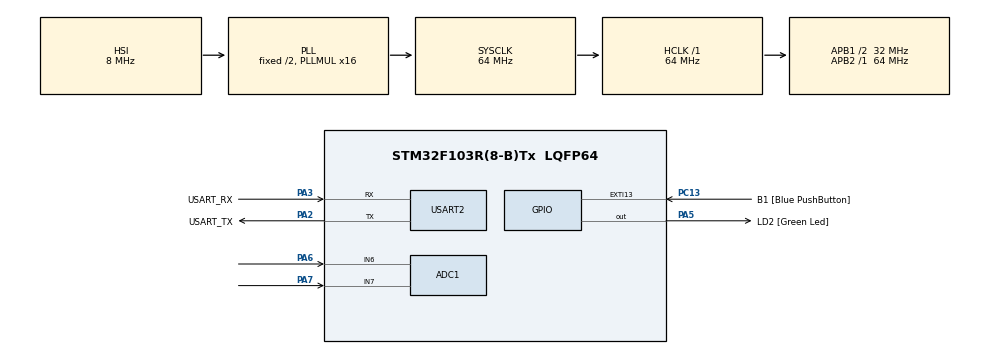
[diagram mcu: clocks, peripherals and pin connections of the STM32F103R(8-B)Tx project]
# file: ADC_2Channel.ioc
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ADC1.Channel-0\#ChannelRegularConversion=ADC_CHANNEL_6
ADC1.Channel-1\#ChannelRegularConversion=ADC_CHANNEL_7
ADC1.ContinuousConvMode=DISABLE
ADC1.DiscontinuousConvMode=ENABLE
ADC1.NbrOfConversion=2
ADC1.NbrOfConversionFlag=1
ADC1.Rank-0\#ChannelRegularConversion=1
ADC1.Rank-1\#ChannelRegularConversion=2
ADC1.SamplingTime-0\#ChannelRegularConversion=ADC_SAMPLETIME_13CYCLES_5
ADC1.SamplingTime-1\#ChannelRegularConversion=ADC_SAMPLETIME_13CYCLES_5
ADC1.master=1
Mcu.Family=STM32F1
Mcu.Name=STM32F103R(8-B)Tx
Mcu.Package=LQFP64
NVIC.ADC1_2_IRQn=true\:0\:0\:false\:false\:true\:true\:true\:true
NVIC.EXTI15_10_IRQn=true\:0\:0\:false\:false\:true\:true\:true\:true
NVIC.PriorityGroup=NVIC_PRIORITYGROUP_4
PA13.GPIO_Label=TMS
PA13.Mode=Serial_Wire
PA13.Signal=SYS_JTMS-SWDIO
PA14.GPIO_Label=TCK
PA14.Mode=Serial_Wire
PA14.Signal=SYS_JTCK-SWCLK
PA2.GPIO_Label=USART_TX
PA2.GPIO_Mode=GPIO_MODE_AF_PP
PA2.GPIO_PuPd=GPIO_NOPULL
PA2.GPIO_Speed=GPIO_SPEED_FREQ_LOW
PA2.Mode=Asynchronous
PA2.Signal=USART2_TX
PA3.GPIO_Label=USART_RX
PA3.GPIO_Mode=GPIO_MODE_AF_PP
PA3.GPIO_PuPd=GPIO_NOPULL
PA3.GPIO_Speed=GPIO_SPEED_FREQ_LOW
PA3.Mode=Asynchronous
PA3.Signal=USART2_RX
PA5.GPIO_Label=LD2 [Green Led]
PA5.GPIO_ModeDefaultOutputPP=GPIO_MODE_OUTPUT_PP
PA5.GPIO_PuPd=GPIO_NOPULL
PA5.GPIO_Speed=GPIO_SPEED_FREQ_LOW
PA5.Signal=GPIO_Output
PA6.Signal=ADCx_IN6
PA7.Signal=ADCx_IN7
PB3.GPIO_Label=SWO
PB3.Signal=SYS_JTDO-TRACESWO
PC13-TAMPER-RTC.GPIO_Label=B1 [Blue PushButton]
PC13-TAMPER-RTC.GPIO_PuPd=GPIO_NOPULL
PC13-TAMPER-RTC.Signal=GPXTI13
PC14-OSC32_IN.Mode=LSE-External-Oscillator
PC14-OSC32_IN.Signal=RCC_OSC32_IN
PC15-OSC32_OUT.Mode=LSE-External-Oscillator
PC15-OSC32_OUT.Signal=RCC_OSC32_OUT
PD0-OSC_IN.Mode=HSE-External-Clock-Source
PD0-OSC_IN.Signal=RCC_OSC_IN
PD1-OSC_OUT.Mode=HSE-External-Clock-Source
PD1-OSC_OUT.Signal=RCC_OSC_OUT
ProjectManager.HeapSize=0x200
ProjectManager.StackSize=0x400
ProjectManager.TargetToolchain=STM32CubeIDE
RCC.ADCPresc=RCC_ADCPCLK2_DIV8
RCC.AHBFreq_Value=64000000
RCC.APB1CLKDivider=RCC_HCLK_DIV2
RCC.APB1Freq_Value=32000000
RCC.APB1TimFreq_Value=64000000
RCC.APB2Freq_Value=64000000
RCC.APB2TimFreq_Value=64000000
RCC.HCLKFreq_Value=64000000
RCC.PLLMUL=RCC_PLL_MUL16
RCC.RTCClockSelection=RCC_RTCCLKSOURCE_LSE
RCC.SYSCLKFreq_VALUE=64000000
RCC.SYSCLKSource=RCC_SYSCLKSOURCE_PLLCLK
RCC.USBFreq_Value=64000000
SH.ADCx_IN6.0=ADC1_IN6,IN6
SH.ADCx_IN7.0=ADC1_IN7,IN7
USART2.VirtualMode=VM_ASYNC
board=NUCLEO-F103RB

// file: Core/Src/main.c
/* USER CODE BEGIN Header */
/**
  ******************************************************************************
  * @file           : main.c
  * @brief          : Main program body
  ******************************************************************************
  * @attention
  *
  * Copyright (c) 2022 STMicroelectronics.
  * All rights reserved.
  *
  * This software is licensed under terms that can be found in the LICENSE file
  * in the root directory of this software component.
  * If no LICENSE file comes with this software, it is provided AS-IS.
  *
  ******************************************************************************
  */
/* USER CODE END Header */
#include "main.h"

/* USER CODE BEGIN Includes */
#include<stdio.h>
/* USER CODE END Includes */

 ADC_HandleTypeDef hadc1;

UART_HandleTypeDef huart2;

/* USER CODE BEGIN PV */
int adc_value[2];
/* USER CODE END PV */

void SystemClock_Config(void);
static void MX_GPIO_Init(void);
static void MX_USART2_UART_Init(void);
static void MX_ADC1_Init(void);
/* USER CODE BEGIN PFP */
#ifdef __GNUC__
/* With GCC, small printf (option LD Linker->Libraries->Small printf
   set to 'Yes') calls __io_putchar() */
#define PUTCHAR_PROTOTYPE int __io_putchar(int ch)
#else
#define PUTCHAR_PROTOTYPE int fputc(int ch, FILE *f)
#endif /* __GNUC__ */

PUTCHAR_PROTOTYPE
{
  /* Place your implementation of fputc here */
  /* e.g. write a character to the USART1 and Loop until the end of transmission */
  HAL_UART_Transmit(&huart2, (uint8_t *)&ch, 1, 0xFFFF);

  return ch;
}
/* USER CODE END PFP */

int main(void)
{

  /* MCU Configuration--------------------------------------------------------*/

  /* Reset of all peripherals, Initializes the Flash interface and the Systick. */
  HAL_Init();

  /* Configure the system clock */
  SystemClock_Config();

  /* Initialize all configured peripherals */
  MX_GPIO_Init();
  MX_USART2_UART_Init();
  MX_ADC1_Init();

  /* Infinite loop */
  /* USER CODE BEGIN WHILE */
  while (1)
  {
	  HAL_ADC_Start(&hadc1);
	  HAL_ADC_PollForConversion(&hadc1, HAL_MAX_DELAY);
	  adc_value[0] = (uint16_t)HAL_ADC_GetValue(&hadc1);
	  HAL_ADC_Start(&hadc1);
	  HAL_ADC_PollForConversion(&hadc1, HAL_MAX_DELAY);
	  adc_value[1] = (uint16_t)HAL_ADC_GetValue(&hadc1);

	  HAL_Delay(100);
	  printf("X adc : %d, Y adc : %d\n\r", adc_value[0], adc_value[1]);
    /* USER CODE END WHILE */

  }
}

void SystemClock_Config(void)
{
  RCC_OscInitTypeDef RCC_OscInitStruct = {0};
  RCC_ClkInitTypeDef RCC_ClkInitStruct = {0};
  RCC_PeriphCLKInitTypeDef PeriphClkInit = {0};

  /** Initializes the RCC Oscillators according to the specified parameters
  * in the RCC_OscInitTypeDef structure.
  */
  RCC_OscInitStruct.OscillatorType = RCC_OSCILLATORTYPE_HSI;
  RCC_OscInitStruct.HSIState = RCC_HSI_ON;
  RCC_OscInitStruct.HSICalibrationValue = RCC_HSICALIBRATION_DEFAULT;
  RCC_OscInitStruct.PLL.PLLState = RCC_PLL_ON;
  RCC_OscInitStruct.PLL.PLLSource = RCC_PLLSOURCE_HSI_DIV2;
  RCC_OscInitStruct.PLL.PLLMUL = RCC_PLL_MUL16;
  if (HAL_RCC_OscConfig(&RCC_OscInitStruct) != HAL_OK)
  {
    Error_Handler();
  }

  /** Initializes the CPU, AHB and APB buses clocks
  */
  RCC_ClkInitStruct.ClockType = RCC_CLOCKTYPE_HCLK|RCC_CLOCKTYPE_SYSCLK
                              |RCC_CLOCKTYPE_PCLK1|RCC_CLOCKTYPE_PCLK2;
  RCC_ClkInitStruct.SYSCLKSource = RCC_SYSCLKSOURCE_PLLCLK;
  RCC_ClkInitStruct.AHBCLKDivider = RCC_SYSCLK_DIV1;
  RCC_ClkInitStruct.APB1CLKDivider = RCC_HCLK_DIV2;
  RCC_ClkInitStruct.APB2CLKDivider = RCC_HCLK_DIV1;

  if (HAL_RCC_ClockConfig(&RCC_ClkInitStruct, FLASH_LATENCY_2) != HAL_OK)
  {
    Error_Handler();
  }
  PeriphClkInit.PeriphClockSelection = RCC_PERIPHCLK_ADC;
  PeriphClkInit.AdcClockSelection = RCC_ADCPCLK2_DIV8;
  if (HAL_RCCEx_PeriphCLKConfig(&PeriphClkInit) != HAL_OK)
  {
    Error_Handler();
  }
}

static void MX_ADC1_Init(void)
{

  ADC_ChannelConfTypeDef sConfig = {0};

  /** Common config
  */
  hadc1.Instance = ADC1;
  hadc1.Init.ScanConvMode = ADC_SCAN_ENABLE;
  hadc1.Init.ContinuousConvMode = DISABLE;
  hadc1.Init.DiscontinuousConvMode = ENABLE;
  hadc1.Init.NbrOfDiscConversion = 1;
  hadc1.Init.ExternalTrigConv = ADC_SOFTWARE_START;
  hadc1.Init.DataAlign = ADC_DATAALIGN_RIGHT;
  hadc1.Init.NbrOfConversion = 2;
  if (HAL_ADC_Init(&hadc1) != HAL_OK)
  {
    Error_Handler();
  }

  /** Configure Regular Channel
  */
  sConfig.Channel = ADC_CHANNEL_6;
  sConfig.Rank = ADC_REGULAR_RANK_1;
  sConfig.SamplingTime = ADC_SAMPLETIME_13CYCLES_5;
  if (HAL_ADC_ConfigChannel(&hadc1, &sConfig) != HAL_OK)
  {
    Error_Handler();
  }

  /** Configure Regular Channel
  */
  sConfig.Channel = ADC_CHANNEL_7;
  sConfig.Rank = ADC_REGULAR_RANK_2;
  if (HAL_ADC_ConfigChannel(&hadc1, &sConfig) != HAL_OK)
  {
    Error_Handler();
  }

}

static void MX_USART2_UART_Init(void)
{

  huart2.Instance = USART2;
  huart2.Init.BaudRate = 115200;
  huart2.Init.WordLength = UART_WORDLENGTH_8B;
  huart2.Init.StopBits = UART_STOPBITS_1;
  huart2.Init.Parity = UART_PARITY_NONE;
  huart2.Init.Mode = UART_MODE_TX_RX;
  huart2.Init.HwFlowCtl = UART_HWCONTROL_NONE;
  huart2.Init.OverSampling = UART_OVERSAMPLING_16;
  if (HAL_UART_Init(&huart2) != HAL_OK)
  {
    Error_Handler();
  }

}

static void MX_GPIO_Init(void)
{
  GPIO_InitTypeDef GPIO_InitStruct = {0};

  /* GPIO Ports Clock Enable */
  __HAL_RCC_GPIOC_CLK_ENABLE();
  __HAL_RCC_GPIOD_CLK_ENABLE();
  __HAL_RCC_GPIOA_CLK_ENABLE();
  __HAL_RCC_GPIOB_CLK_ENABLE();

  /*Configure GPIO pin Output Level */
  HAL_GPIO_WritePin(LD2_GPIO_Port, LD2_Pin, GPIO_PIN_RESET);

  /*Configure GPIO pin : B1_Pin */
  GPIO_InitStruct.Pin = B1_Pin;
  GPIO_InitStruct.Mode = GPIO_MODE_IT_RISING;
  GPIO_InitStruct.Pull = GPIO_NOPULL;
  HAL_GPIO_Init(B1_GPIO_Port, &GPIO_InitStruct);

  /*Configure GPIO pin : LD2_Pin */
  GPIO_InitStruct.Pin = LD2_Pin;
  GPIO_InitStruct.Mode = GPIO_MODE_OUTPUT_PP;
  GPIO_InitStruct.Pull = GPIO_NOPULL;
  GPIO_InitStruct.Speed = GPIO_SPEED_FREQ_LOW;
  HAL_GPIO_Init(LD2_GPIO_Port, &GPIO_InitStruct);

  /* EXTI interrupt init*/
  HAL_NVIC_SetPriority(EXTI15_10_IRQn, 0, 0);
  HAL_NVIC_EnableIRQ(EXTI15_10_IRQn);

}

void Error_Handler(void)
{
  __disable_irq();
  while (1)
  {
  }
}
